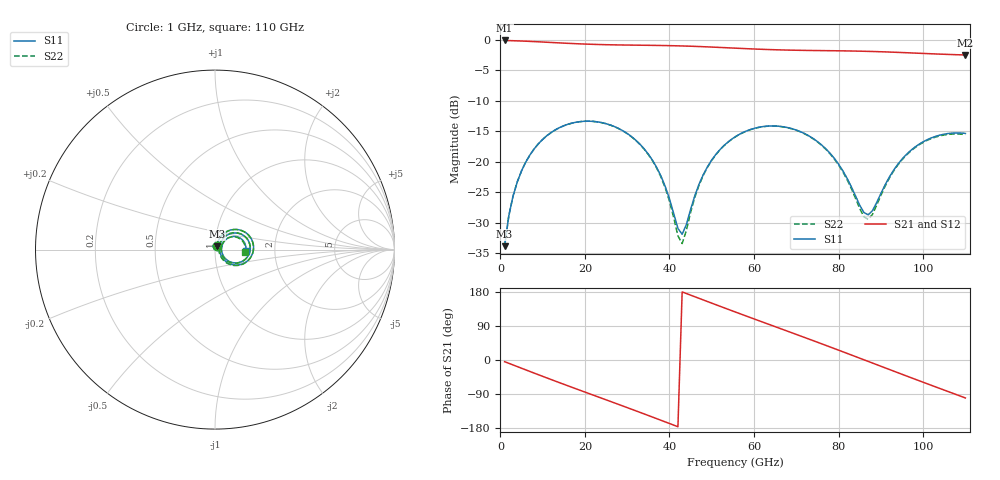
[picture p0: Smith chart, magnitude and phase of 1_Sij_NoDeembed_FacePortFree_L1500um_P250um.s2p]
! Touchstone file exported from HFSS 2024.2.0
!  File:  C:/Users/vaintrug/Documents/Ansoft_Workspace/Comparaison_Calculs_HFSS/1_VarPort.aedt
!  Generated:  03:22:17 PM Jan 21, 2025
!  Design:  1_NoDeembed_FacePortFree
!  Project:  1_VarPort
!  Setup:  Setup1
!  Solution:  Sweep
! Variables:
!  $Lenght = 1500um
!  $PortSize = 250um
!  Gap = 30um
!  Th = 2um
!  X_centralStrip = 20um
!  X_masse = 200um
!  Y_Sub = 1.5mm
!  Z_Box = 400um
!  Z_Sub = 200um
# GHz S MA R 50.000000
! Terminal data exported
! Port[1] = 1
! Port[2] = 2
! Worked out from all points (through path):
!   110 points, 1 GHz to 110 GHz, reference 50 ohm
!   highest |S21| = -0.10 dB at 1 GHz (marker M1); lowest = -2.5 dB at 110 GHz (marker M2)
!   group delay of S21, straight-line fit = 11.6 ps
!   lowest |S11| = -33.8 dB at 1 GHz (marker M3), VSWR 1.04, Z = 50.9 + j1.83 ohm
!   |S11| at or under -10 dB: start of sweep to end of sweep
!   |S22| runs from -33.8 to -13.3 dB; largest |S21 - S12| = 1.5e-14
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1  0.02035 62.1  0.9891 -4.4  0.9891 -4.4  0.02035 62.1
! Gamma 6.15558501834039 50.3210682135681 6.16436234699314 50.2340817874134
! Port Impedance 50 0 50 0
2  0.03621 69.3  0.9866 -8.7  0.9866 -8.7  0.03621 69.3
3  0.05244 69.8  0.9841 -13.1  0.9841 -13.1  0.05245 69.8
7  0.114 58.5  0.9717 -30.3  0.9717 -30.3  0.114 58.4
14  0.1908 31.5  0.9443 -59.9  0.9443 -59.9  0.1908 31.2
20  0.2153 8.4  0.9241 -84.6  0.9241 -84.6  0.2151 7.9
29  0.1796 -24.7  0.9078 -121.5  0.9078 -121.5  0.1791 -25.8
34  0.128 -41.0  0.9034 -142.3  0.9034 -142.3  0.1272 -42.7
38  0.07622 -48.8  0.8994 -159.1  0.8994 -159.1  0.07483 -51.7
42  0.02844 -20.9  0.8934 -176.1  0.8934 -176.1  0.02472 -24.9
43  0.02548 6.8  0.8915 179.7  0.8915 179.7  0.0214 8.2
48  0.07856 53.3  0.8791 158.5  0.8791 158.5  0.0776 55.9
52  0.1266 45.1  0.8668 141.6  0.8668 141.6  0.1261 46.5
56  0.1641 32.7  0.8539 124.9  0.8539 124.9  0.1638 33.4
65  0.1968 2.1  0.83 88.0  0.83 88.0  0.1963 2.0
74  0.1553 -27.1  0.8182 51.0  0.8182 51.0  0.1544 -28.0
80  0.09574 -40.5  0.8135 26.0  0.8135 26.0  0.0943 -42.4
87  0.03677 3.6  0.8049 -3.7  0.8049 -3.7  0.03377 3.5
92  0.07492 42.5  0.7947 -24.9  0.7947 -24.9  0.07347 43.2
96  0.1146 38.5  0.7847 -41.9  0.7847 -41.9  0.1132 38.1
101  0.1522 25.6  0.7716 -62.8  0.7716 -62.8  0.1503 24.2
110  0.1711 -1.7  0.752 -100.2  0.752 -100.2  0.1672 -5.3
